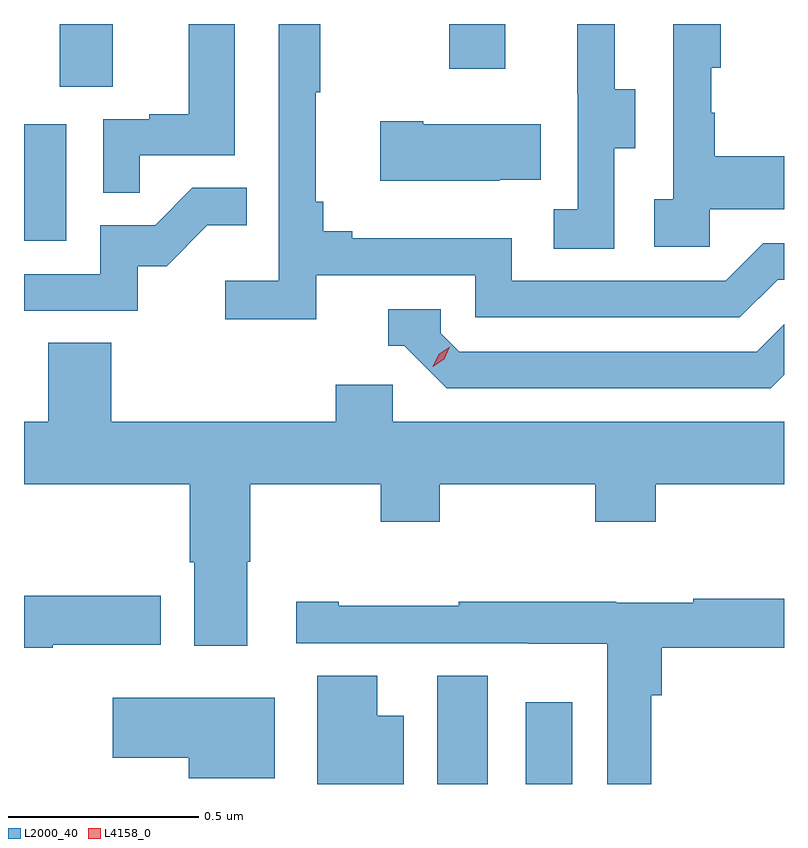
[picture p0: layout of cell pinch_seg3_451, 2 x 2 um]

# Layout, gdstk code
import gdstk
lib = gdstk.Library(unit=1e-6, precision=1e-09)
def R(c, l, rs):  # rectangles x0, y0, x1, y1
    for r in rs: c.add(gdstk.rectangle(r[:2], r[2:], *l))
def P(c, l, *ps):  # polygons
    for p in ps: c.add(gdstk.Polygon(p, *l))
L2000_40 = (2000, 40)
L4158_0 = (4158, 0)

pinch_seg3_451 = lib.new_cell('pinch_seg3_451')
R(pinch_seg3_451, L2000_40, [(942.572,668.159,942.706,668.444), (942.806,668.159,942.928,668.374), (941.485,669.588,941.596,669.895), (941.579,669.994,941.719,670.159), (942.604,670.041,942.751,670.159)])
P(pinch_seg3_451, L2000_40, [(943.038,669.832),(943.093,669.832),(943.093,669.987),(943.039,669.987),(943.039,670.159),(942.941,670.159),(942.941,669.975),(942.942,669.975),(942.942,669.671),(942.879,669.671),(942.879,669.568),(943.038,669.568)],
  [(942.254,669.498),(942.672,669.498),(942.672,669.387),(943.369,669.387),(943.468,669.486),(943.485,669.486),(943.485,669.582),(943.431,669.582),(943.332,669.483),(942.768,669.483),(942.768,669.595),(942.349,669.595),(942.349,669.614),(942.272,669.614),(942.272,669.691),(942.253,669.691),(942.253,669.979),(942.265,669.979),(942.265,670.159),(942.156,670.159),(942.156,669.484),(942.015,669.484),(942.015,669.382),(942.254,669.382)],
  [(941.789,669.813),(942.04,669.813),(942.04,670.159),(941.918,670.159),(941.918,669.922),(941.815,669.922),(941.815,669.909),(941.694,669.909),(941.694,669.715),(941.789,669.715)],
  [(943.29,669.671),(943.485,669.671),(943.485,669.811),(943.303,669.811),(943.303,669.926),(943.293,669.926),(943.293,670.044),(943.318,670.044),(943.318,670.159),(943.194,670.159),(943.194,669.698),(943.143,669.698),(943.143,669.573),(943.29,669.573)],
  [(942.737,669.749),(942.845,669.749),(942.845,669.895),(942.535,669.895),(942.535,669.903),(942.423,669.903),(942.423,669.746),(942.737,669.746)],
  [(941.784,669.522),(941.86,669.522),(941.967,669.629),(942.071,669.629),(942.071,669.728),(941.928,669.728),(941.83,669.63),(941.685,669.63),(941.685,669.501),(941.485,669.501),(941.485,669.405),(941.784,669.405)],
  [(943.485,669.236),(943.485,669.369),(943.413,669.297),(942.63,669.297),(942.582,669.345),(942.582,669.408),(942.443,669.408),(942.443,669.312),(942.486,669.312),(942.597,669.201),(943.45,669.201)],
  [(942.073,668.744),(942.081,668.744),(942.081,668.948),(942.424,668.948),(942.424,668.849),(942.579,668.849),(942.579,668.948),(942.988,668.948),(942.988,668.849),(943.148,668.849),(943.148,668.948),(943.485,668.948),(943.485,669.112),(942.456,669.112),(942.456,669.21),(942.305,669.21),(942.305,669.112),(941.714,669.112),(941.714,669.32),(941.549,669.32),(941.549,669.112),(941.485,669.112),(941.485,668.948),(941.921,668.948),(941.921,668.743),(941.933,668.743),(941.933,668.523),(942.073,668.523)],
  [(941.56,668.525),(941.845,668.525),(941.845,668.655),(941.485,668.655),(941.485,668.518),(941.56,668.518)],
  [(943.136,668.393),(943.163,668.393),(943.163,668.518),(943.485,668.518),(943.485,668.647),(943.246,668.647),(943.246,668.636),(943.044,668.636),(943.044,668.638),(942.629,668.638),(942.629,668.628),(942.313,668.628),(942.313,668.638),(942.201,668.638),(942.201,668.529),(942.81,668.529),(942.81,668.528),(943.02,668.528),(943.02,668.159),(943.136,668.159)],
  [(942.484,668.338),(942.415,668.338),(942.415,668.444),(942.257,668.444),(942.257,668.159),(942.484,668.159)],
  [(942.145,668.386),(941.718,668.386),(941.718,668.228),(941.918,668.228),(941.918,668.174),(942.145,668.174)])
P(pinch_seg3_451, L4158_0, [(942.56,669.257),(942.56,669.258),(942.576,669.29),(942.606,669.31),(942.606,669.31),(942.606,669.31),(942.591,669.277),(942.561,669.257)])

lib.write_gds('pinch_seg3_451.gds')
